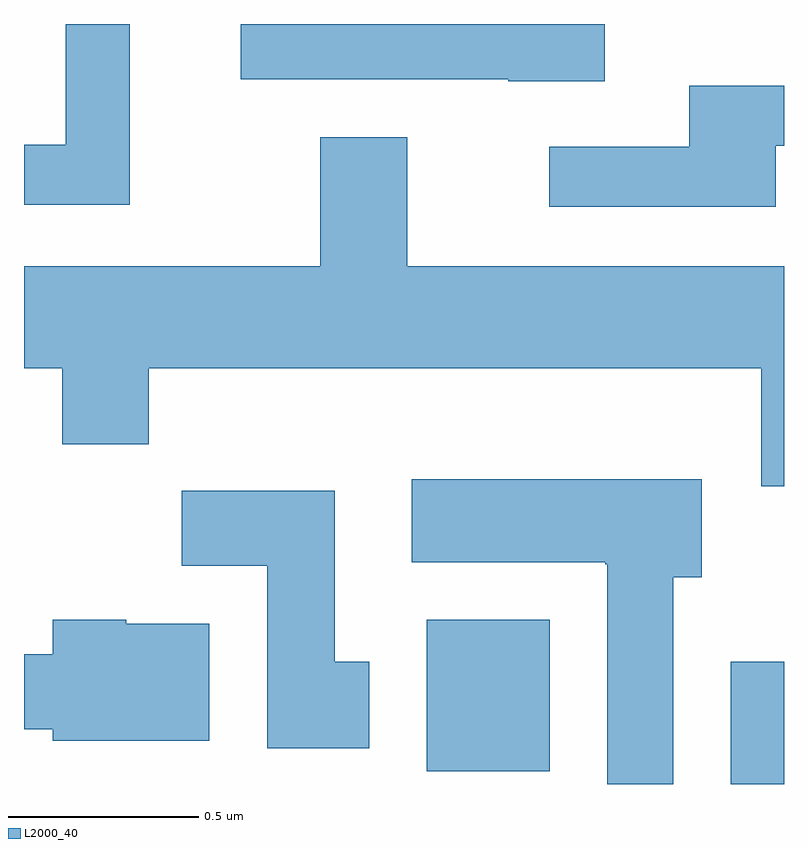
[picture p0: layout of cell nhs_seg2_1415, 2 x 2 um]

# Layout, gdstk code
import gdstk
lib = gdstk.Library(unit=1e-6, precision=1e-09)
def R(c, l, rs):  # rectangles x0, y0, x1, y1
    for r in rs: c.add(gdstk.rectangle(r[:2], r[2:], *l))
def P(c, l, *ps):  # polygons
    for p in ps: c.add(gdstk.Polygon(p, *l))
L2000_40 = (2000, 40)

nhs_seg2_1415 = lib.new_cell('nhs_seg2_1415')
R(nhs_seg2_1415, L2000_40, [(197.471,1022.802,197.611,1023.124), (196.671,1022.836,196.994,1023.234)])
P(nhs_seg2_1415, L2000_40, [(197.139,1024.802),(196.181,1024.802),(196.181,1024.656),(196.885,1024.656),(196.885,1024.651),(197.139,1024.651)],
  [(195.889,1024.802),(195.721,1024.802),(195.721,1024.484),(195.611,1024.484),(195.611,1024.326),(195.889,1024.326)],
  [(197.589,1024.481),(197.611,1024.481),(197.611,1024.639),(197.361,1024.639),(197.361,1024.479),(196.993,1024.479),(196.993,1024.321),(197.589,1024.321)],
  [(197.611,1024.164),(196.619,1024.164),(196.619,1024.504),(196.391,1024.504),(196.391,1024.164),(195.611,1024.164),(195.611,1023.896),(195.711,1023.896),(195.711,1023.696),(195.939,1023.696),(195.939,1023.896),(197.551,1023.896),(197.551,1023.586),(197.611,1023.586)],
  [(197.319,1023.346),(197.394,1023.346),(197.394,1023.604),(196.631,1023.604),(196.631,1023.386),(197.14,1023.386),(197.14,1023.38),(197.146,1023.38),(197.146,1022.802),(197.319,1022.802)],
  [(196.519,1023.124),(196.429,1023.124),(196.429,1023.574),(196.026,1023.574),(196.026,1023.376),(196.251,1023.376),(196.251,1022.896),(196.519,1022.896)],
  [(196.099,1023.224),(195.88,1023.224),(195.88,1023.234),(195.686,1023.234),(195.686,1023.144),(195.611,1023.144),(195.611,1022.946),(195.686,1022.946),(195.686,1022.916),(196.099,1022.916)])

lib.write_gds('nhs_seg2_1415.gds')
